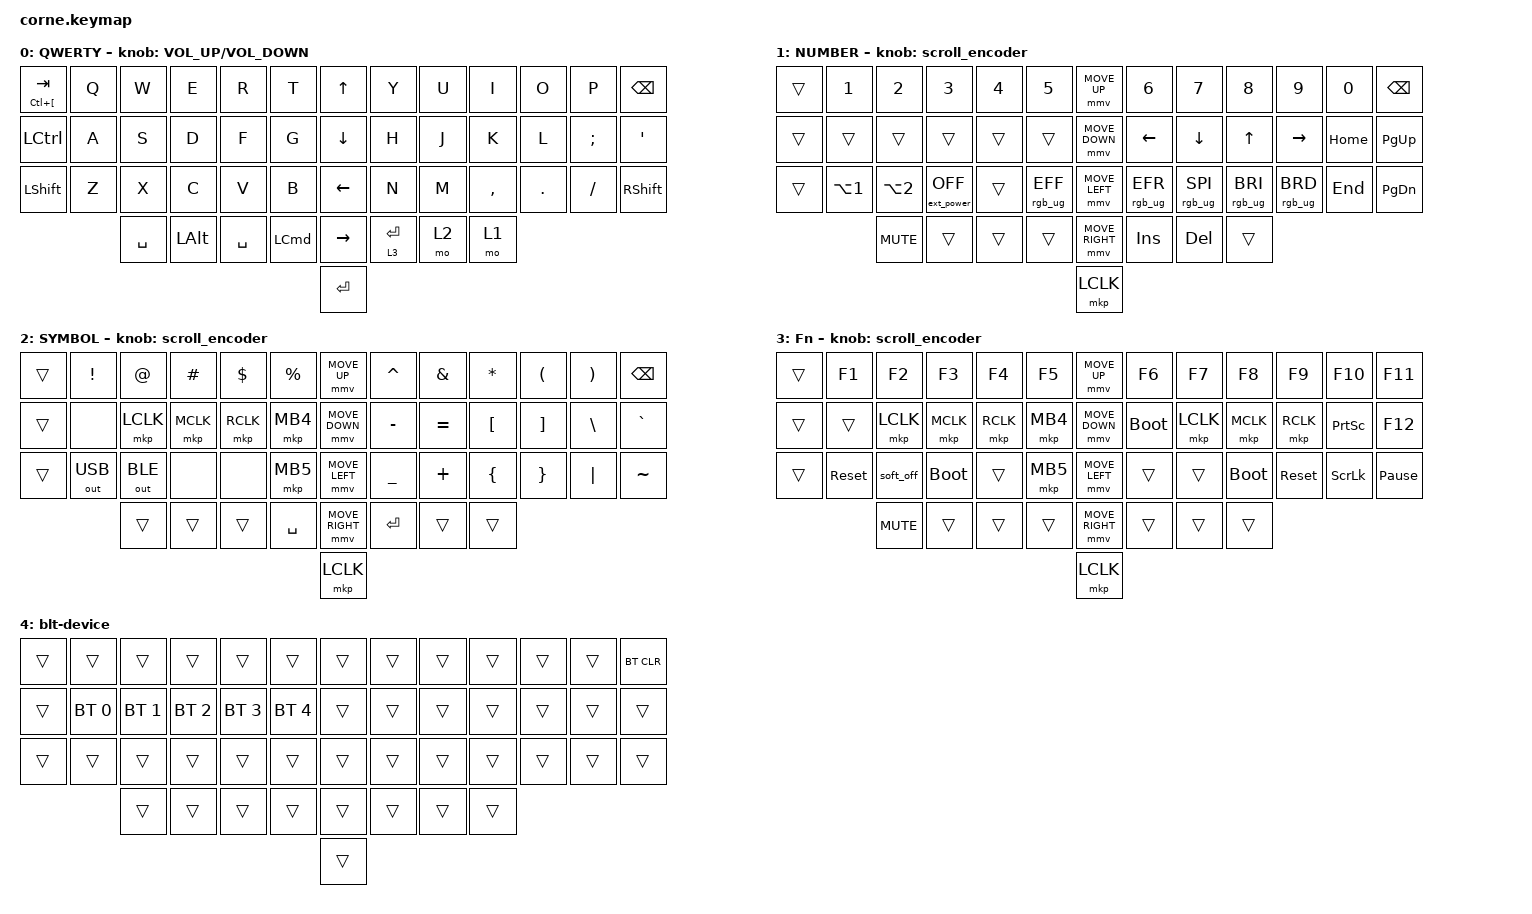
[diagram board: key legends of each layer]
#include <behaviors/mouse_keys.dtsi>
#include <dt-bindings/zmk/mouse.h>
#include <behaviors.dtsi>
#include <dt-bindings/zmk/bt.h>
#include <dt-bindings/zmk/ext_power.h>
#include <dt-bindings/zmk/keys.h>
#include <dt-bindings/zmk/outputs.h>
#include <dt-bindings/zmk/pointing.h>
#include <dt-bindings/zmk/pointing.h>
#include <dt-bindings/zmk/pointing.h>
#include <dt-bindings/zmk/rgb.h>

#define ZMK_MOUSE_DEFAULT_MOVE_VAL 1200  // 600
#define ZMK_MOUSE_DEFAULT_SCRL_VAL 20    // 10
#define U_MS_U &mmv MOVE_UP
#define U_MS_D &mmv MOVE_DOWN
#define U_MS_L &mmv MOVE_LEFT
#define U_MS_R &mmv MOVE_RIGHT

/ {
    behaviors {
        td0: td0 {
            compatible = "zmk,behavior-tap-dance";
            label = "TD0";
            #binding-cells = <0>;
            bindings = <&kp LEFT_SHIFT>, <&kp CAPS>;
        };

        mmv {
            acceleration-exponent = <1>;      // 1
            time-to-max-speed-ms = <900>;    // 40
            delay-ms = <0>;                   // 0
        };

        msc {
            acceleration-exponent = <1>;      // 0
            time-to-max-speed-ms = <400>;      // 500
            delay-ms = <0>;                   // 10
        };
    };

    rgb_encoder: rgb_encoder {
        compatible = "zmk,behavior-sensor-rotate";
        label = "RGB_ENCODER";
        #sensor-binding-cells = <0>;
        bindings = <&rgb_ug RGB_BRI>, <&rgb_ug RGB_BRD>;
    };

    scroll_encoder: scroll_encoder {
        compatible = "zmk,behavior-sensor-rotate";
        #sensor-binding-cells = <0>;
        bindings = <&msc SCRL_DOWN>, <&msc SCRL_UP>;

        tap-ms = <30>;
    };

    combos {
        compatible = "zmk,combos";

        esc {
            bindings = <&mt LC(LEFT_BRACKET) ESCAPE>;
            key-positions = <1 0>;
            layers = <0>;
        };

        power {
            bindings = <&kp TILDE>;
            key-positions = <11 12>;
            layers = <0>;
        };

        lock {
            bindings = <&kp PIPE>;
            key-positions = <24 25>;
            layers = <0>;
        };

        device {
            bindings = <&mo 4>;
            key-positions = <45 46>;
        };
    };

    keymap {
        compatible = "zmk,keymap";

        default_layer {
            display-name = "QWERTY";

            // --------------------------------------------------------------------------------
            // |  TAB |  Q  |  W  |  E  |  R  |  T  |                ↑    |  Y  |  U   |  I  |  O  |  P  | BKSP |      &kp UP_ARROW 
            // | SHIFT |  A  |  S  |  D  |  F  |  G  |               ↓    |  H  |  J   |  K  |  L  |  ;  |  '   | 
            // | CTRL |  Z  |  X  |  C  |  V  |  B  |                ←    |  N  |  M   |  ,  |  .  |  /  | ESC  |
            //                    | GUI | LWR | SPC |                →    | ENT | RSE  | ALT |
            //                                                      enter

            bindings = <
&mt LC(LEFT_BRACKET) TAB  &kp Q  &kp W      &kp E         &kp R      &kp T               &kp UP_ARROW     &kp Y        &kp U  &kp I      &kp O    &kp P      &kp BSPC
&kp LCTRL                 &kp A  &kp S      &kp D         &kp F      &kp G               &kp DOWN_ARROW   &kp H        &kp J  &kp K      &kp L    &kp SEMI   &kp SQT
&kp LEFT_SHIFT            &kp Z  &kp X      &kp C         &kp V      &kp B               &kp LEFT_ARROW   &kp N        &kp M  &kp COMMA  &kp DOT  &kp SLASH  &kp RIGHT_SHIFT
                                 &kp SPACE  &kp LEFT_ALT  &kp SPACE  &kp LEFT_COMMAND    &kp RIGHT_ARROW  &lt 3 ENTER  &mo 2  &mo 1
                                                                                         &kp ENTER
            >;

            label = "QWERTY";
            sensor-bindings = <&inc_dec_kp C_VOLUME_UP C_VOLUME_DOWN>;
        };

        lower_layer {
            display-name = "NUMBER";

            // -----------------------------------------------------------------------------------------
            // |  TAB |  1  |  2  |  3  |  4  |  5  |   |  6  |  7  |  8  |  9  |  0  | BKSP |
            // | BTCLR| BT1 | BT2 | BT3 | BT4 | BT5 |   | LFT | DWN |  UP | RGT |     |      |
            // | SHFT |     |     |     |     |     |   |     |     |     |     |     |      |
            //                    | GUI |     | SPC |   | ENT |     | ALT |

            bindings = <
&trans  &kp N1            &kp N2            &kp N3             &kp N4  &kp N5             &mmv MOVE_UP     &kp N6           &kp N7           &kp N8           &kp N9           &kp N0    &kp BSPC
&trans  &trans            &trans            &trans             &trans  &trans             &mmv MOVE_DOWN   &kp LEFT         &kp DOWN         &kp UP           &kp RIGHT        &kp HOME  &kp PG_UP
&trans  &kp LA(NUMBER_1)  &kp LA(NUMBER_2)  &ext_power EP_OFF  &trans  &rgb_ug RGB_EFF    &mmv MOVE_LEFT   &rgb_ug RGB_EFR  &rgb_ug RGB_SPI  &rgb_ug RGB_BRI  &rgb_ug RGB_BRD  &kp END   &kp PG_DN
                          &kp C_MUTE        &trans             &trans  &trans             &mmv MOVE_RIGHT  &kp INS          &kp DEL          &trans
                                                                                          &mkp LCLK
            >;

            label = "NUMBER";
            sensor-bindings = <&scroll_encoder>;
        };

        raise_layer {
            display-name = "SYMBOL";

            // -----------------------------------------------------------------------------------------
            // |  TAB |  !  |  @  |  #  |  $  |  %  |   |  ^  |  &  |  *  |  (  |  )  | BKSP |
            // | CTRL |     |     |     |     |     |   |  -  |  =  |  [  |  ]  |  \  |  `   |
            // | SHFT |     |     |     |     |     |   |  _  |  +  |  {  |  }  | "|" |  ~   |
            //                    | GUI |     | SPC |   | ENT |     | ALT |

            bindings = <
&trans  &kp EXCL      &kp AT        &kp HASH   &kp DLLR   &kp PRCNT    &mmv MOVE_UP     &kp CARET  &kp AMPS   &kp ASTRK  &kp LPAR  &kp RPAR  &kp BSPC
&trans  &none         &mkp LCLK     &mkp MCLK  &mkp RCLK  &mkp MB4     &mmv MOVE_DOWN   &kp MINUS  &kp EQUAL  &kp LBKT   &kp RBKT  &kp BSLH  &kp GRAVE
&trans  &out OUT_USB  &out OUT_BLE  &none      &none      &mkp MB5     &mmv MOVE_LEFT   &kp UNDER  &kp PLUS   &kp LBRC   &kp RBRC  &kp PIPE  &kp TILDE
                      &trans        &trans     &trans     &kp SPACE    &mmv MOVE_RIGHT  &kp RET    &trans     &trans
                                                                       &mkp LCLK
            >;

            label = "SYMBOL";
            sensor-bindings = <&scroll_encoder>;
        };

        layer_3 {
            display-name = "Fn";
            bindings = <
&trans  &kp F1      &kp F2      &kp F3       &kp F4     &kp F5      &mmv MOVE_UP     &kp F6       &kp F7     &kp F8       &kp F9      &kp F10          &kp F11
&trans  &trans      &mkp LCLK   &mkp MCLK    &mkp RCLK  &mkp MB4    &mmv MOVE_DOWN   &bootloader  &mkp LCLK  &mkp MCLK    &mkp RCLK   &kp PRINTSCREEN  &kp F12
&trans  &sys_reset  &soft_off   &bootloader  &trans     &mkp MB5    &mmv MOVE_LEFT   &trans       &trans     &bootloader  &sys_reset  &kp SCROLLLOCK   &kp PAUSE_BREAK
                    &kp C_MUTE  &trans       &trans     &trans      &mmv MOVE_RIGHT  &trans       &trans     &trans
                                                                    &mkp LCLK
            >;

            label = "FN";
            sensor-bindings = <&scroll_encoder>;
        };

        blt-device {
            bindings = <
&trans  &trans        &trans        &trans        &trans        &trans          &trans  &trans  &trans  &trans  &trans  &trans  &bt BT_CLR
&trans  &bt BT_SEL 0  &bt BT_SEL 1  &bt BT_SEL 2  &bt BT_SEL 3  &bt BT_SEL 4    &trans  &trans  &trans  &trans  &trans  &trans  &trans
&trans  &trans        &trans        &trans        &trans        &trans          &trans  &trans  &trans  &trans  &trans  &trans  &trans
                      &trans        &trans        &trans        &trans          &trans  &trans  &trans  &trans
                                                                                &trans
            >;
        };
    };
};
